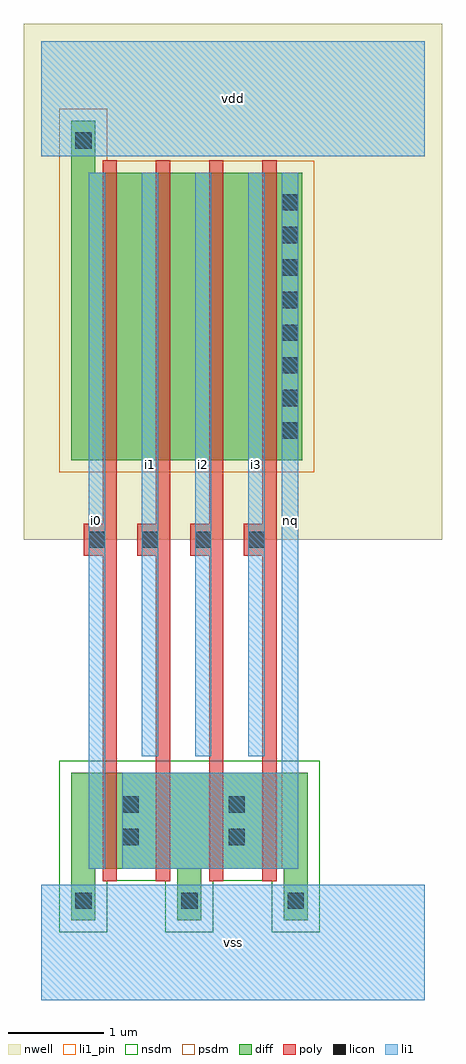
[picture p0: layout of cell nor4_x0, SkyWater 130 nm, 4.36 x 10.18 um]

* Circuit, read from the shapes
.subckt nor4_x0 i0 i1 i2 i3 nq vdd vss
XM1 nq i0 vss VSUBS sky130_fd_pr__nfet_01v8 w=1 l=0.15
XM2 vss i1 nq VSUBS sky130_fd_pr__nfet_01v8 w=1 l=0.15
XM3 nq i2 vss VSUBS sky130_fd_pr__nfet_01v8 w=1 l=0.15
XM4 vss i3 nq VSUBS sky130_fd_pr__nfet_01v8 w=1 l=0.15
XM5 n1 i0 vdd n2 sky130_fd_pr__pfet_01v8 w=3 l=0.15
XM6 n3 i1 n1 n2 sky130_fd_pr__pfet_01v8 w=3 l=0.15
XM7 n4 i2 n3 n2 sky130_fd_pr__pfet_01v8 w=3 l=0.15
XM8 nq i3 n4 n2 sky130_fd_pr__pfet_01v8 w=3 l=0.15
.ends

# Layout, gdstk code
import gdstk
lib = gdstk.Library(unit=1e-6, precision=1e-09)
def R(c, l, rs):  # rectangles x0, y0, x1, y1
    for r in rs: c.add(gdstk.rectangle(r[:2], r[2:], *l))
def A(c, l, x, y, w, h, nx, ny, dx, dy):  # array of equal rectangles
    R(c, l, [(x+i*dx, y+j*dy, x+i*dx+w, y+j*dy+h) for i in range(nx) for j in range(ny)])
def P(c, l, *ps):  # polygons
    for p in ps: c.add(gdstk.Polygon(p, *l))
nwell = (64, 20)
diff = (65, 20)
poly = (66, 20)
licon = (66, 44)
li1_pin = (67, 16)
li1 = (67, 20)
nsdm = (93, 44)
psdm = (94, 20)

nor4_x0 = lib.new_cell('nor4_x0')
R(nor4_x0, nwell, [(-0.18,4.8,4.18,10.18)])
P(nor4_x0, diff, [(0.315,0.83),(0.315,2.37),(2.78,2.37),(2.78,0.83),(2.53,0.83),(2.53,1.37),(1.67,1.37),(1.67,0.83),(1.42,0.83),(1.42,1.37),(0.565,1.37),(0.565,0.83)],
  [(0.315,5.63),(0.315,9.17),(0.565,9.17),(0.565,8.63),(2.72,8.63),(2.72,5.63)])
P(nor4_x0, poly, [(0.64,1.24),(0.64,4.635),(0.445,4.635),(0.445,4.965),(0.64,4.965),(0.64,8.76),(0.79,8.76),(0.79,1.24)],
  [(1.195,1.24),(1.195,4.635),(1,4.635),(1,4.965),(1.195,4.965),(1.195,8.76),(1.345,8.76),(1.345,1.24)],
  [(1.75,1.24),(1.75,4.635),(1.555,4.635),(1.555,4.965),(1.75,4.965),(1.75,8.76),(1.9,8.76),(1.9,1.24)],
  [(2.305,1.24),(2.305,4.635),(2.11,4.635),(2.11,4.965),(2.305,4.965),(2.305,8.76),(2.455,8.76),(2.455,1.24)])
A(nor4_x0, licon, 0.495, 4.715, 0.17, 0.17, 4, 1, 0.555, 0)
A(nor4_x0, licon, 2.51, 5.855, 0.17, 0.17, 1, 8, 0, 0.34)
R(nor4_x0, licon, [(0.355,0.95,0.525,1.12), (1.46,0.95,1.63,1.12), (2.57,0.95,2.74,1.12), (0.845,1.615,1.015,1.785), (1.955,1.615,2.125,1.785), (0.845,1.955,1.015,2.125), (1.955,1.955,2.125,2.125), (0.355,8.88,0.525,9.05)])
A(nor4_x0, li1_pin, 1.05, 2.54, 0.17, 6.09, 3, 1, 0.555, 0)
R(nor4_x0, li1_pin, [(0,0,4,1.2), (0.495,1.37,0.665,8.63), (2.51,1.37,2.68,8.63), (0,8.8,4,10)])
A(nor4_x0, li1, 1.05, 2.54, 0.17, 6.09, 3, 1, 0.555, 0)
R(nor4_x0, li1, [(0,0,4,1.2), (0.495,1.37,0.665,8.63), (0,8.8,4,10)])
P(nor4_x0, li1, [(0.845,1.37),(0.845,2.37),(2.51,2.37),(2.51,8.63),(2.68,8.63),(2.68,1.37)])
P(nor4_x0, nsdm, [(0.19,0.705),(0.19,2.495),(2.905,2.495),(2.905,0.705),(2.405,0.705),(2.405,1.245),(1.795,1.245),(1.795,0.705),(1.295,0.705),(1.295,1.245),(0.69,1.245),(0.69,0.705)])
P(nor4_x0, psdm, [(0.19,5.505),(0.19,9.295),(0.69,9.295),(0.69,8.755),(2.845,8.755),(2.845,5.505)])
nor4_x0.add(gdstk.Label('vss', (2,0.6), layer=67, texttype=16))
nor4_x0.add(gdstk.Label('vdd', (2,9.4), layer=67, texttype=16))
nor4_x0.add(gdstk.Label('nq', (2.595,5), layer=67, texttype=16))
nor4_x0.add(gdstk.Label('i0', (0.58,5), layer=67, texttype=16))
nor4_x0.add(gdstk.Label('i1', (1.135,5.585), layer=67, texttype=16))
nor4_x0.add(gdstk.Label('i2', (1.69,5.585), layer=67, texttype=16))
nor4_x0.add(gdstk.Label('i3', (2.245,5.585), layer=67, texttype=16))
nor4_x0.add(gdstk.Label('vss', (2,0.6), layer=67, texttype=16))
nor4_x0.add(gdstk.Label('vdd', (2,9.4), layer=67, texttype=16))
nor4_x0.add(gdstk.Label('nq', (2.595,5), layer=67, texttype=16))
nor4_x0.add(gdstk.Label('i0', (0.58,5), layer=67, texttype=16))
nor4_x0.add(gdstk.Label('i1', (1.135,5.585), layer=67, texttype=16))
nor4_x0.add(gdstk.Label('i2', (1.69,5.585), layer=67, texttype=16))
nor4_x0.add(gdstk.Label('i3', (2.245,5.585), layer=67, texttype=16))

lib.write_gds('nor4_x0.gds')
